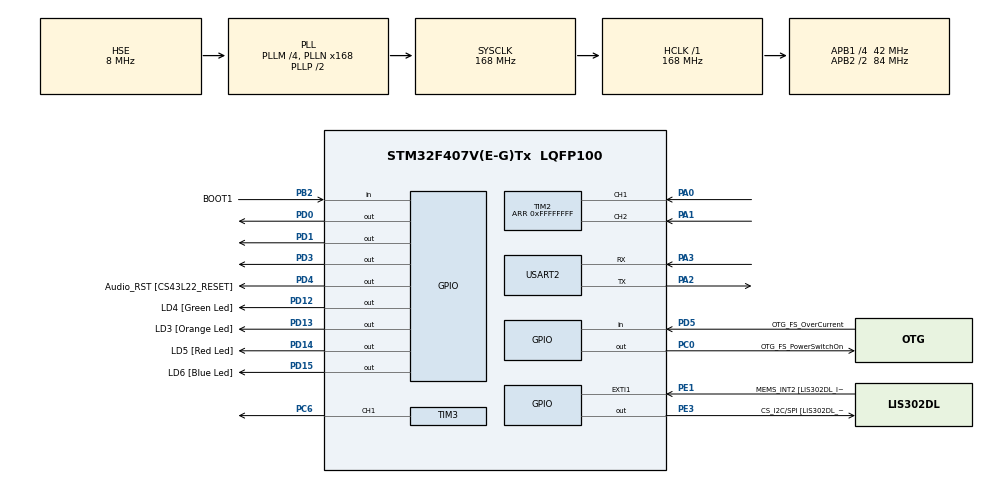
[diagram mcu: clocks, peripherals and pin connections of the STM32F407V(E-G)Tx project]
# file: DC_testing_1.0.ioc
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Mcu.Family=STM32F4
Mcu.Name=STM32F407V(E-G)Tx
Mcu.Package=LQFP100
NVIC.PriorityGroup=NVIC_PRIORITYGROUP_0
NVIC.TIM1_UP_TIM10_IRQn=true\:0\:0\:false\:false\:true\:true\:true\:true
NVIC.USART2_IRQn=true\:0\:0\:false\:false\:true\:true\:true\:true
PA0-WKUP.GPIO_ModeDefaultPP=GPIO_MODE_AF_PP
PA0-WKUP.GPIO_PuPd=GPIO_PULLUP
PA0-WKUP.Signal=S_TIM2_CH1_ETR
PA1.GPIO_PuPd=GPIO_PULLUP
PA1.Signal=S_TIM2_CH2
PA10.GPIO_Label=OTG_FS_ID
PA10.GPIO_Mode=GPIO_MODE_AF_PP
PA10.GPIO_PuPd=GPIO_NOPULL
PA10.GPIO_Speed=GPIO_SPEED_FREQ_LOW
PA10.Signal=USB_OTG_FS_ID
PA11.GPIO_Label=OTG_FS_DM
PA11.GPIO_Mode=GPIO_MODE_AF_PP
PA11.GPIO_PuPd=GPIO_NOPULL
PA11.GPIO_Speed=GPIO_SPEED_FREQ_LOW
PA11.Signal=USB_OTG_FS_DM
PA12.GPIO_Label=OTG_FS_DP
PA12.GPIO_Mode=GPIO_MODE_AF_PP
PA12.GPIO_PuPd=GPIO_NOPULL
PA12.GPIO_Speed=GPIO_SPEED_FREQ_LOW
PA12.Signal=USB_OTG_FS_DP
PA13.GPIO_Label=SWDIO
PA13.Mode=Serial_Wire
PA13.Signal=SYS_JTMS-SWDIO
PA14.GPIO_Label=SWCLK
PA14.Mode=Serial_Wire
PA14.Signal=SYS_JTCK-SWCLK
PA2.Mode=Asynchronous
PA2.Signal=USART2_TX
PA3.Mode=Asynchronous
PA3.Signal=USART2_RX
PA4.GPIO_Label=I2S3_WS [CS43L22_LRCK]
PA4.GPIO_Mode=GPIO_MODE_AF_PP
PA4.GPIO_PuPd=GPIO_NOPULL
PA4.GPIO_Speed=GPIO_SPEED_FREQ_LOW
PA4.Signal=I2S3_WS
PA5.GPIO_Label=SPI1_SCK [LIS302DL_SCL/SPC]
PA5.GPIO_Mode=GPIO_MODE_AF_PP
PA5.GPIO_PuPd=GPIO_NOPULL
PA5.GPIO_Speed=GPIO_SPEED_FREQ_LOW
PA5.Signal=SPI1_SCK
PA6.GPIO_Label=SPI1_MISO [LIS302DL_SDO]
PA6.GPIO_Mode=GPIO_MODE_AF_PP
PA6.GPIO_PuPd=GPIO_NOPULL
PA6.GPIO_Speed=GPIO_SPEED_FREQ_LOW
PA6.Signal=SPI1_MISO
PA7.GPIO_Label=SPI1_MOSI [LIS302DL_SDA/SDI/SDO]
PA7.GPIO_Mode=GPIO_MODE_AF_PP
PA7.GPIO_PuPd=GPIO_NOPULL
PA7.GPIO_Speed=GPIO_SPEED_FREQ_LOW
PA7.Signal=SPI1_MOSI
PA9.GPIO_Label=VBUS_FS
PA9.GPIO_Mode=GPIO_MODE_INPUT
PA9.GPIO_PuPd=GPIO_NOPULL
PA9.Signal=USB_OTG_FS_VBUS
PB10.GPIO_Label=CLK_IN [MP45DT02_CLK]
PB10.GPIO_Mode=GPIO_MODE_AF_PP
PB10.GPIO_PuPd=GPIO_NOPULL
PB10.GPIO_Speed=GPIO_SPEED_FREQ_LOW
PB10.Signal=I2S2_CK
PB2.GPIO_Label=BOOT1
PB2.GPIO_Mode=GPIO_MODE_INPUT
PB2.GPIO_PuPd=GPIO_NOPULL
PB2.Signal=GPIO_Input
PB3.GPIO_Label=SWO
PB3.Signal=SYS_JTDO-SWO
PB6.GPIO_Label=Audio_SCL [CS43L22_SCL]
PB6.GPIO_Mode=GPIO_MODE_AF_OD
PB6.GPIO_PuPd=GPIO_NOPULL
PB6.GPIO_Speed=GPIO_SPEED_FREQ_LOW
PB6.Signal=I2C1_SCL
PB9.GPIO_Label=Audio_SDA [CS43L22_SDA]
PB9.GPIO_Mode=GPIO_MODE_AF_OD
PB9.GPIO_PuPd=GPIO_NOPULL
PB9.GPIO_Speed=GPIO_SPEED_FREQ_LOW
PB9.Signal=I2C1_SDA
PC0.GPIO_Label=OTG_FS_PowerSwitchOn
PC0.GPIO_PuPd=GPIO_NOPULL
PC0.GPIO_Speed=GPIO_SPEED_FREQ_LOW
PC0.PinState=GPIO_PIN_SET
PC0.Signal=GPIO_Output
PC10.GPIO_Label=I2S3_SCK [CS43L22_SCLK]
PC10.GPIO_Mode=GPIO_MODE_AF_PP
PC10.GPIO_PuPd=GPIO_NOPULL
PC10.GPIO_Speed=GPIO_SPEED_FREQ_LOW
PC10.Signal=I2S3_CK
PC12.GPIO_Label=I2S3_SD [CS43L22_SDIN]
PC12.GPIO_Mode=GPIO_MODE_AF_PP
PC12.GPIO_PuPd=GPIO_NOPULL
PC12.GPIO_Speed=GPIO_SPEED_FREQ_LOW
PC12.Signal=I2S3_SD
PC14-OSC32_IN.GPIO_Label=PC14-OSC32_IN
PC14-OSC32_IN.Signal=RCC_OSC32_IN
PC15-OSC32_OUT.GPIO_Label=PC15-OSC32_OUT
PC15-OSC32_OUT.Signal=RCC_OSC32_OUT
PC3.GPIO_Label=PDM_OUT [MP45DT02_DOUT]
PC3.GPIO_Mode=GPIO_MODE_AF_PP
PC3.GPIO_PuPd=GPIO_NOPULL
PC3.GPIO_Speed=GPIO_SPEED_FREQ_LOW
PC3.Signal=I2S2_SD
PC6.Signal=S_TIM3_CH1
PC7.GPIO_Label=I2S3_MCK [CS43L22_MCLK]
PC7.GPIO_Mode=GPIO_MODE_AF_PP
PC7.GPIO_PuPd=GPIO_NOPULL
PC7.GPIO_Speed=GPIO_SPEED_FREQ_LOW
PC7.Signal=I2S3_MCK
PD0.Signal=GPIO_Output
PD1.Signal=GPIO_Output
PD12.GPIO_Label=LD4 [Green Led]
PD12.GPIO_PuPd=GPIO_NOPULL
PD12.GPIO_Speed=GPIO_SPEED_FREQ_LOW
PD12.Signal=GPIO_Output
PD13.GPIO_Label=LD3 [Orange Led]
PD13.GPIO_PuPd=GPIO_NOPULL
PD13.GPIO_Speed=GPIO_SPEED_FREQ_LOW
PD13.Signal=GPIO_Output
PD14.GPIO_Label=LD5 [Red Led]
PD14.GPIO_PuPd=GPIO_NOPULL
PD14.GPIO_Speed=GPIO_SPEED_FREQ_LOW
PD14.Signal=GPIO_Output
PD15.GPIO_Label=LD6 [Blue Led]
PD15.GPIO_PuPd=GPIO_NOPULL
PD15.GPIO_Speed=GPIO_SPEED_FREQ_LOW
PD15.Signal=GPIO_Output
PD3.Signal=GPIO_Output
PD4.GPIO_Label=Audio_RST [CS43L22_RESET]
PD4.GPIO_PuPd=GPIO_NOPULL
PD4.GPIO_Speed=GPIO_SPEED_FREQ_LOW
PD4.Signal=GPIO_Output
PD5.GPIO_Label=OTG_FS_OverCurrent
PD5.GPIO_Mode=GPIO_MODE_INPUT
PD5.GPIO_PuPd=GPIO_NOPULL
PD5.Signal=GPIO_Input
PE1.GPIO_Label=MEMS_INT2 [LIS302DL_INT2]
PE1.GPIO_ModeDefaultEXTI=GPIO_MODE_EVT_RISING
PE1.GPIO_PuPd=GPIO_NOPULL
PE1.Signal=GPXTI1
PE3.GPIO_Label=CS_I2C/SPI [LIS302DL_CS_I2C/SPI]
PE3.GPIO_PuPd=GPIO_NOPULL
PE3.GPIO_Speed=GPIO_SPEED_FREQ_LOW
PE3.Signal=GPIO_Output
PH0-OSC_IN.GPIO_Label=PH0-OSC_IN
PH0-OSC_IN.Mode=HSE-External-Oscillator
PH0-OSC_IN.Signal=RCC_OSC_IN
PH1-OSC_OUT.GPIO_Label=PH1-OSC_OUT
PH1-OSC_OUT.Mode=HSE-External-Oscillator
PH1-OSC_OUT.Signal=RCC_OSC_OUT
ProjectManager.HeapSize=0x200
ProjectManager.StackSize=0x400
ProjectManager.TargetToolchain=STM32CubeIDE
RCC.48MHZClocksFreq_Value=48000000
RCC.AHBFreq_Value=168000000
RCC.APB1CLKDivider=RCC_HCLK_DIV4
RCC.APB1Freq_Value=42000000
RCC.APB1TimFreq_Value=84000000
RCC.APB2CLKDivider=RCC_HCLK_DIV2
RCC.APB2Freq_Value=84000000
RCC.APB2TimFreq_Value=168000000
RCC.CortexFreq_Value=168000000
RCC.HCLKFreq_Value=168000000
RCC.HSE_VALUE=8000000
RCC.HSI_VALUE=16000000
RCC.LSE_VALUE=32768
RCC.PLLM=4
RCC.PLLN=168
RCC.PLLQ=7
RCC.PLLSourceVirtual=RCC_PLLSOURCE_HSE
RCC.SYSCLKFreq_VALUE=168000000
RCC.SYSCLKSource=RCC_SYSCLKSOURCE_PLLCLK
RCC.VCOOutputFreq_Value=336000000
SH.S_TIM2_CH1_ETR.0=TIM2_CH1,Encoder_Interface
SH.S_TIM2_CH2.0=TIM2_CH2,Encoder_Interface
SH.S_TIM3_CH1.0=TIM3_CH1,PWM Generation1 CH1
TIM1.Period=99
TIM1.Prescaler=8399
TIM2.EncoderMode=TIM_ENCODERMODE_TI12
TIM2.Period=0xFFFFFFFF
TIM3.Channel-PWM\ Generation1\ CH1=TIM_CHANNEL_1
TIM3.Period=999
TIM3.Prescaler=7
TIM3.Pulse-PWM\ Generation1\ CH1=10
USART2.VirtualMode=VM_ASYNC
VP_TIM1_VS_ClockSourceINT.Mode=Internal
VP_TIM3_VS_ClockSourceINT.Mode=Internal
board=STM32F407G-DISC1

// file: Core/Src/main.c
/* USER CODE BEGIN Header */
/**
  ******************************************************************************
  * @file           : main.c
  * @brief          : Main program body
  ******************************************************************************
  * @attention
  *
  * Copyright (c) 2025 STMicroelectronics.
  * All rights reserved.
  *
  * This software is licensed under terms that can be found in the LICENSE file
  * in the root directory of this software component.
  * If no LICENSE file comes with this software, it is provided AS-IS.
  *
  ******************************************************************************
  */
/* USER CODE END Header */
#include "main.h"

/* USER CODE BEGIN Includes */
#include "string.h"
#include "stdlib.h"
#include "stdio.h"
#include "pid_controller.h"
#include "kalman_filter.h"
#include "math.h"
#include "arm_math.h"
#include "rls_estimator.h"
/* USER CODE END Includes */

/* USER CODE BEGIN PD */
#define PI 3.14159265358979323846
/* USER CODE END PD */

TIM_HandleTypeDef htim1;
TIM_HandleTypeDef htim2;
TIM_HandleTypeDef htim3;

UART_HandleTypeDef huart2;

void SystemClock_Config(void);
static void MX_GPIO_Init(void);
static void MX_TIM2_Init(void);
static void MX_TIM1_Init(void);
static void MX_TIM3_Init(void);
static void MX_USART2_UART_Init(void);

/* USER CODE BEGIN 0 */
volatile int32_t encoder = 0;
volatile double motor_omega = 0;
volatile double motor_rpm = 0;
volatile double encoder_data[100] = {0};
volatile int i=0;
const int total_pulse = 388;
const float Ts = 0.005;
double test_data = 35.7;
double duty_cycle = 20;

uint8_t buffer_receive[10];
volatile double u_motor =0;

int _write(int file, char *ptr, int len){
	int i = 0;
	for (i = 0; i<len; i++)
		ITM_SendChar((*ptr++));
	return len;
}

void sendDataUART(float output, float input)
{
	uint8_t buffer_transmit[10];
	buffer_transmit[0] = 0x7E;    // Start byte
	memcpy(&buffer_transmit[1], &input, sizeof(float));
    memcpy(&buffer_transmit[5], &output, sizeof(float));
    buffer_transmit[9] = 0x33;    // End byte

	HAL_UART_Transmit(&huart2, buffer_transmit, sizeof(buffer_transmit), 1000);

}
PID_Controller pid;
KalmanFilter vel_filter;
RLS_Estimator estimator;
volatile uint16_t ouput_duty;
volatile float32_t a[4];
/* USER CODE END 0 */

int main(void)
{

  /* MCU Configuration--------------------------------------------------------*/

  /* Reset of all peripherals, Initializes the Flash interface and the Systick. */
  HAL_Init();

  /* Configure the system clock */
  SystemClock_Config();

  /* Initialize all configured peripherals */
  MX_GPIO_Init();
  MX_TIM2_Init();
  MX_TIM1_Init();
  MX_TIM3_Init();
  MX_USART2_UART_Init();
  /* USER CODE BEGIN 2 */
  HAL_GPIO_WritePin(GPIOD, GPIO_PIN_3, 1);

  HAL_TIM_Encoder_Start(&htim2, TIM_CHANNEL_1);
  HAL_TIM_Encoder_Start(&htim2, TIM_CHANNEL_2);
  HAL_TIM_PWM_Start(&htim3, TIM_CHANNEL_1);
  HAL_TIM_Base_Start_IT(&htim1);
  HAL_UART_Receive_IT(&huart2, buffer_receive, sizeof(buffer_receive));

// Connect ENB into PD3 if you want duty cycle = 100%
// Connect ENB into PC6 if you want to modify duty cycle

  //PID controller
//  PID_Init(&pid, 0.016352, 40, 33.33, 2500, 999);
//  PID_Init(&pid, 1, 40, 33.33, 2500, 999);
  PID_Init(&pid, 10, 0.0001, 0, 2500, 999);
  KalmanFilter_Init(&vel_filter, 0.1, 7.0, 1.0, 0.0f);
  RLS_Init(&estimator, 0.8f, (float[]){-1.0f, 1.0f, 1.0f, 1.0f}, 1e2f);
  /* USER CODE END 2 */

  /* Infinite loop */
  /* USER CODE BEGIN WHILE */
  while (1)
  {
//	  HAL_GPIO_TogglePin(GPIOD, GPIO_PIN_15);
//	  HAL_Delay(500);
//	  sendDataUART(motor_omega);

    /* USER CODE END WHILE */

    /* USER CODE BEGIN 3 */
//	  	 	volatile float estimsteIn = (float)pid.output;
//	  		volatile float estimsteOut = (float)motor_omega;
//	  		RLS_Update(&estimator, estimsteIn, estimsteOut);
//	  		a[0] = estimator.Theta_.pData[0];
//	  		a[1] = estimator.Theta_.pData[1];
//	  		a[2] = estimator.Theta_.pData[2];
//	  		a[3] = estimator.Theta_.pData[3];
//	  		HAL_GPIO_TogglePin(GPIOD, GPIO_PIN_15);
//	  		__HAL_TIM_SET_COMPARE(&htim3, TIM_CHANNEL_1, u_motor);
  }
  /* USER CODE END 3 */
}

void SystemClock_Config(void)
{
  RCC_OscInitTypeDef RCC_OscInitStruct = {0};
  RCC_ClkInitTypeDef RCC_ClkInitStruct = {0};

  /** Configure the main internal regulator output voltage
  */
  __HAL_RCC_PWR_CLK_ENABLE();
  __HAL_PWR_VOLTAGESCALING_CONFIG(PWR_REGULATOR_VOLTAGE_SCALE1);

  /** Initializes the RCC Oscillators according to the specified parameters
  * in the RCC_OscInitTypeDef structure.
  */
  RCC_OscInitStruct.OscillatorType = RCC_OSCILLATORTYPE_HSE;
  RCC_OscInitStruct.HSEState = RCC_HSE_ON;
  RCC_OscInitStruct.PLL.PLLState = RCC_PLL_ON;
  RCC_OscInitStruct.PLL.PLLSource = RCC_PLLSOURCE_HSE;
  RCC_OscInitStruct.PLL.PLLM = 4;
  RCC_OscInitStruct.PLL.PLLN = 168;
  RCC_OscInitStruct.PLL.PLLP = RCC_PLLP_DIV2;
  RCC_OscInitStruct.PLL.PLLQ = 7;
  if (HAL_RCC_OscConfig(&RCC_OscInitStruct) != HAL_OK)
  {
    Error_Handler();
  }

  /** Initializes the CPU, AHB and APB buses clocks
  */
  RCC_ClkInitStruct.ClockType = RCC_CLOCKTYPE_HCLK|RCC_CLOCKTYPE_SYSCLK
                              |RCC_CLOCKTYPE_PCLK1|RCC_CLOCKTYPE_PCLK2;
  RCC_ClkInitStruct.SYSCLKSource = RCC_SYSCLKSOURCE_PLLCLK;
  RCC_ClkInitStruct.AHBCLKDivider = RCC_SYSCLK_DIV1;
  RCC_ClkInitStruct.APB1CLKDivider = RCC_HCLK_DIV4;
  RCC_ClkInitStruct.APB2CLKDivider = RCC_HCLK_DIV2;

  if (HAL_RCC_ClockConfig(&RCC_ClkInitStruct, FLASH_LATENCY_5) != HAL_OK)
  {
    Error_Handler();
  }
}

static void MX_TIM1_Init(void)
{

  TIM_ClockConfigTypeDef sClockSourceConfig = {0};
  TIM_MasterConfigTypeDef sMasterConfig = {0};

  htim1.Instance = TIM1;
  htim1.Init.Prescaler = 8399;
  htim1.Init.CounterMode = TIM_COUNTERMODE_UP;
  htim1.Init.Period = 99;
  htim1.Init.ClockDivision = TIM_CLOCKDIVISION_DIV1;
  htim1.Init.RepetitionCounter = 0;
  htim1.Init.AutoReloadPreload = TIM_AUTORELOAD_PRELOAD_DISABLE;
  if (HAL_TIM_Base_Init(&htim1) != HAL_OK)
  {
    Error_Handler();
  }
  sClockSourceConfig.ClockSource = TIM_CLOCKSOURCE_INTERNAL;
  if (HAL_TIM_ConfigClockSource(&htim1, &sClockSourceConfig) != HAL_OK)
  {
    Error_Handler();
  }
  sMasterConfig.MasterOutputTrigger = TIM_TRGO_RESET;
  sMasterConfig.MasterSlaveMode = TIM_MASTERSLAVEMODE_DISABLE;
  if (HAL_TIMEx_MasterConfigSynchronization(&htim1, &sMasterConfig) != HAL_OK)
  {
    Error_Handler();
  }

}

static void MX_TIM2_Init(void)
{

  TIM_Encoder_InitTypeDef sConfig = {0};
  TIM_MasterConfigTypeDef sMasterConfig = {0};

  htim2.Instance = TIM2;
  htim2.Init.Prescaler = 0;
  htim2.Init.CounterMode = TIM_COUNTERMODE_UP;
  htim2.Init.Period = 0xFFFFFFFF;
  htim2.Init.ClockDivision = TIM_CLOCKDIVISION_DIV1;
  htim2.Init.AutoReloadPreload = TIM_AUTORELOAD_PRELOAD_DISABLE;
  sConfig.EncoderMode = TIM_ENCODERMODE_TI12;
  sConfig.IC1Polarity = TIM_ICPOLARITY_RISING;
  sConfig.IC1Selection = TIM_ICSELECTION_DIRECTTI;
  sConfig.IC1Prescaler = TIM_ICPSC_DIV1;
  sConfig.IC1Filter = 0;
  sConfig.IC2Polarity = TIM_ICPOLARITY_RISING;
  sConfig.IC2Selection = TIM_ICSELECTION_DIRECTTI;
  sConfig.IC2Prescaler = TIM_ICPSC_DIV1;
  sConfig.IC2Filter = 0;
  if (HAL_TIM_Encoder_Init(&htim2, &sConfig) != HAL_OK)
  {
    Error_Handler();
  }
  sMasterConfig.MasterOutputTrigger = TIM_TRGO_RESET;
  sMasterConfig.MasterSlaveMode = TIM_MASTERSLAVEMODE_DISABLE;
  if (HAL_TIMEx_MasterConfigSynchronization(&htim2, &sMasterConfig) != HAL_OK)
  {
    Error_Handler();
  }

}

static void MX_TIM3_Init(void)
{

  TIM_ClockConfigTypeDef sClockSourceConfig = {0};
  TIM_MasterConfigTypeDef sMasterConfig = {0};
  TIM_OC_InitTypeDef sConfigOC = {0};

  htim3.Instance = TIM3;
  htim3.Init.Prescaler = 7;
  htim3.Init.CounterMode = TIM_COUNTERMODE_UP;
  htim3.Init.Period = 999;
  htim3.Init.ClockDivision = TIM_CLOCKDIVISION_DIV1;
  htim3.Init.AutoReloadPreload = TIM_AUTORELOAD_PRELOAD_DISABLE;
  if (HAL_TIM_Base_Init(&htim3) != HAL_OK)
  {
    Error_Handler();
  }
  sClockSourceConfig.ClockSource = TIM_CLOCKSOURCE_INTERNAL;
  if (HAL_TIM_ConfigClockSource(&htim3, &sClockSourceConfig) != HAL_OK)
  {
    Error_Handler();
  }
  if (HAL_TIM_PWM_Init(&htim3) != HAL_OK)
  {
    Error_Handler();
  }
  sMasterConfig.MasterOutputTrigger = TIM_TRGO_RESET;
  sMasterConfig.MasterSlaveMode = TIM_MASTERSLAVEMODE_DISABLE;
  if (HAL_TIMEx_MasterConfigSynchronization(&htim3, &sMasterConfig) != HAL_OK)
  {
    Error_Handler();
  }
  sConfigOC.OCMode = TIM_OCMODE_PWM1;
  sConfigOC.Pulse = 10;
  sConfigOC.OCPolarity = TIM_OCPOLARITY_HIGH;
  sConfigOC.OCFastMode = TIM_OCFAST_DISABLE;
  if (HAL_TIM_PWM_ConfigChannel(&htim3, &sConfigOC, TIM_CHANNEL_1) != HAL_OK)
  {
    Error_Handler();
  }
  HAL_TIM_MspPostInit(&htim3);

}

static void MX_USART2_UART_Init(void)
{

  huart2.Instance = USART2;
  huart2.Init.BaudRate = 115200;
  huart2.Init.WordLength = UART_WORDLENGTH_8B;
  huart2.Init.StopBits = UART_STOPBITS_1;
  huart2.Init.Parity = UART_PARITY_NONE;
  huart2.Init.Mode = UART_MODE_TX_RX;
  huart2.Init.HwFlowCtl = UART_HWCONTROL_NONE;
  huart2.Init.OverSampling = UART_OVERSAMPLING_16;
  if (HAL_UART_Init(&huart2) != HAL_OK)
  {
    Error_Handler();
  }

}

static void MX_GPIO_Init(void)
{
  GPIO_InitTypeDef GPIO_InitStruct = {0};

  /* GPIO Ports Clock Enable */
  __HAL_RCC_GPIOE_CLK_ENABLE();
  __HAL_RCC_GPIOC_CLK_ENABLE();
  __HAL_RCC_GPIOH_CLK_ENABLE();
  __HAL_RCC_GPIOA_CLK_ENABLE();
  __HAL_RCC_GPIOB_CLK_ENABLE();
  __HAL_RCC_GPIOD_CLK_ENABLE();

  /*Configure GPIO pin Output Level */
  HAL_GPIO_WritePin(CS_I2C_SPI_GPIO_Port, CS_I2C_SPI_Pin, GPIO_PIN_RESET);

  /*Configure GPIO pin Output Level */
  HAL_GPIO_WritePin(OTG_FS_PowerSwitchOn_GPIO_Port, OTG_FS_PowerSwitchOn_Pin, GPIO_PIN_SET);

  /*Configure GPIO pin Output Level */
  HAL_GPIO_WritePin(GPIOD, LD4_Pin|LD3_Pin|LD5_Pin|LD6_Pin
                          |GPIO_PIN_0|GPIO_PIN_1|GPIO_PIN_3|Audio_RST_Pin, GPIO_PIN_RESET);

  /*Configure GPIO pin : CS_I2C_SPI_Pin */
  GPIO_InitStruct.Pin = CS_I2C_SPI_Pin;
  GPIO_InitStruct.Mode = GPIO_MODE_OUTPUT_PP;
  GPIO_InitStruct.Pull = GPIO_NOPULL;
  GPIO_InitStruct.Speed = GPIO_SPEED_FREQ_LOW;
  HAL_GPIO_Init(CS_I2C_SPI_GPIO_Port, &GPIO_InitStruct);

  /*Configure GPIO pin : OTG_FS_PowerSwitchOn_Pin */
  GPIO_InitStruct.Pin = OTG_FS_PowerSwitchOn_Pin;
  GPIO_InitStruct.Mode = GPIO_MODE_OUTPUT_PP;
  GPIO_InitStruct.Pull = GPIO_NOPULL;
  GPIO_InitStruct.Speed = GPIO_SPEED_FREQ_LOW;
  HAL_GPIO_Init(OTG_FS_PowerSwitchOn_GPIO_Port, &GPIO_InitStruct);

  /*Configure GPIO pin : PDM_OUT_Pin */
  GPIO_InitStruct.Pin = PDM_OUT_Pin;
  GPIO_InitStruct.Mode = GPIO_MODE_AF_PP;
  GPIO_InitStruct.Pull = GPIO_NOPULL;
  GPIO_InitStruct.Speed = GPIO_SPEED_FREQ_LOW;
  GPIO_InitStruct.Alternate = GPIO_AF5_SPI2;
  HAL_GPIO_Init(PDM_OUT_GPIO_Port, &GPIO_InitStruct);

  /*Configure GPIO pin : I2S3_WS_Pin */
  GPIO_InitStruct.Pin = I2S3_WS_Pin;
  GPIO_InitStruct.Mode = GPIO_MODE_AF_PP;
  GPIO_InitStruct.Pull = GPIO_NOPULL;
  GPIO_InitStruct.Speed = GPIO_SPEED_FREQ_LOW;
  GPIO_InitStruct.Alternate = GPIO_AF6_SPI3;
  HAL_GPIO_Init(I2S3_WS_GPIO_Port, &GPIO_InitStruct);

  /*Configure GPIO pins : SPI1_SCK_Pin SPI1_MISO_Pin SPI1_MOSI_Pin */
  GPIO_InitStruct.Pin = SPI1_SCK_Pin|SPI1_MISO_Pin|SPI1_MOSI_Pin;
  GPIO_InitStruct.Mode = GPIO_MODE_AF_PP;
  GPIO_InitStruct.Pull = GPIO_NOPULL;
  GPIO_InitStruct.Speed = GPIO_SPEED_FREQ_LOW;
  GPIO_InitStruct.Alternate = GPIO_AF5_SPI1;
  HAL_GPIO_Init(GPIOA, &GPIO_InitStruct);

  /*Configure GPIO pin : BOOT1_Pin */
  GPIO_InitStruct.Pin = BOOT1_Pin;
  GPIO_InitStruct.Mode = GPIO_MODE_INPUT;
  GPIO_InitStruct.Pull = GPIO_NOPULL;
  HAL_GPIO_Init(BOOT1_GPIO_Port, &GPIO_InitStruct);

  /*Configure GPIO pin : CLK_IN_Pin */
  GPIO_InitStruct.Pin = CLK_IN_Pin;
  GPIO_InitStruct.Mode = GPIO_MODE_AF_PP;
  GPIO_InitStruct.Pull = GPIO_NOPULL;
  GPIO_InitStruct.Speed = GPIO_SPEED_FREQ_LOW;
  GPIO_InitStruct.Alternate = GPIO_AF5_SPI2;
  HAL_GPIO_Init(CLK_IN_GPIO_Port, &GPIO_InitStruct);

  /*Configure GPIO pins : LD4_Pin LD3_Pin LD5_Pin LD6_Pin
                           PD0 PD1 PD3 Audio_RST_Pin */
  GPIO_InitStruct.Pin = LD4_Pin|LD3_Pin|LD5_Pin|LD6_Pin
                          |GPIO_PIN_0|GPIO_PIN_1|GPIO_PIN_3|Audio_RST_Pin;
  GPIO_InitStruct.Mode = GPIO_MODE_OUTPUT_PP;
  GPIO_InitStruct.Pull = GPIO_NOPULL;
  GPIO_InitStruct.Speed = GPIO_SPEED_FREQ_LOW;
  HAL_GPIO_Init(GPIOD, &GPIO_InitStruct);

  /*Configure GPIO pins : I2S3_MCK_Pin I2S3_SCK_Pin I2S3_SD_Pin */
  GPIO_InitStruct.Pin = I2S3_MCK_Pin|I2S3_SCK_Pin|I2S3_SD_Pin;
  GPIO_InitStruct.Mode = GPIO_MODE_AF_PP;
  GPIO_InitStruct.Pull = GPIO_NOPULL;
  GPIO_InitStruct.Speed = GPIO_SPEED_FREQ_LOW;
  GPIO_InitStruct.Alternate = GPIO_AF6_SPI3;
  HAL_GPIO_Init(GPIOC, &GPIO_InitStruct);

  /*Configure GPIO pin : VBUS_FS_Pin */
  GPIO_InitStruct.Pin = VBUS_FS_Pin;
  GPIO_InitStruct.Mode = GPIO_MODE_INPUT;
  GPIO_InitStruct.Pull = GPIO_NOPULL;
  HAL_GPIO_Init(VBUS_FS_GPIO_Port, &GPIO_InitStruct);

  /*Configure GPIO pins : OTG_FS_ID_Pin OTG_FS_DM_Pin OTG_FS_DP_Pin */
  GPIO_InitStruct.Pin = OTG_FS_ID_Pin|OTG_FS_DM_Pin|OTG_FS_DP_Pin;
  GPIO_InitStruct.Mode = GPIO_MODE_AF_PP;
  GPIO_InitStruct.Pull = GPIO_NOPULL;
  GPIO_InitStruct.Speed = GPIO_SPEED_FREQ_LOW;
  GPIO_InitStruct.Alternate = GPIO_AF10_OTG_FS;
  HAL_GPIO_Init(GPIOA, &GPIO_InitStruct);

  /*Configure GPIO pin : OTG_FS_OverCurrent_Pin */
  GPIO_InitStruct.Pin = OTG_FS_OverCurrent_Pin;
  GPIO_InitStruct.Mode = GPIO_MODE_INPUT;
  GPIO_InitStruct.Pull = GPIO_NOPULL;
  HAL_GPIO_Init(OTG_FS_OverCurrent_GPIO_Port, &GPIO_InitStruct);

  /*Configure GPIO pins : Audio_SCL_Pin Audio_SDA_Pin */
  GPIO_InitStruct.Pin = Audio_SCL_Pin|Audio_SDA_Pin;
  GPIO_InitStruct.Mode = GPIO_MODE_AF_OD;
  GPIO_InitStruct.Pull = GPIO_NOPULL;
  GPIO_InitStruct.Speed = GPIO_SPEED_FREQ_LOW;
  GPIO_InitStruct.Alternate = GPIO_AF4_I2C1;
  HAL_GPIO_Init(GPIOB, &GPIO_InitStruct);

  /*Configure GPIO pin : MEMS_INT2_Pin */
  GPIO_InitStruct.Pin = MEMS_INT2_Pin;
  GPIO_InitStruct.Mode = GPIO_MODE_EVT_RISING;
  GPIO_InitStruct.Pull = GPIO_NOPULL;
  HAL_GPIO_Init(MEMS_INT2_GPIO_Port, &GPIO_InitStruct);

}

/* USER CODE BEGIN 4 */
void HAL_TIM_PeriodElapsedCallback(TIM_HandleTypeDef *htim)
{
	if (htim->Instance == TIM1) {
		encoder = (int32_t)__HAL_TIM_GET_COUNTER(&htim2);
		motor_omega = encoder*PI/(total_pulse*Ts);
		motor_omega = KalmanFilter_Update(&vel_filter, motor_omega);
		motor_rpm = motor_omega*60/PI;
		__HAL_TIM_SET_COUNTER(&htim2, 0);
		PID_Compute(&pid, u_motor, motor_rpm);
		ouput_duty = (uint16_t)(pid.output);

		if(ouput_duty >0){
			 HAL_GPIO_WritePin(GPIOD, GPIO_PIN_0, 0);
			 HAL_GPIO_WritePin(GPIOD, GPIO_PIN_1, 1);
			 uint16_t duty = (uint16_t)fminf(fabsf(pid.output), 999);
			 __HAL_TIM_SET_COMPARE(&htim3, TIM_CHANNEL_1, duty);
		} else {
			 HAL_GPIO_WritePin(GPIOD, GPIO_PIN_0, 1);
			 HAL_GPIO_WritePin(GPIOD, GPIO_PIN_1, 0);
			 uint16_t duty = (uint16_t)fminf(fabsf(pid.output), 999);
			 __HAL_TIM_SET_COMPARE(&htim3, TIM_CHANNEL_1, duty);
		}
   	    sendDataUART(motor_rpm,ouput_duty);
	}

}

void HAL_UART_RxCpltCallback(UART_HandleTypeDef *huart) {
	i++;
    if ((huart->Instance == USART2) && (buffer_receive[0] == 0x7E) && (buffer_receive[9] == 0x33))
    {
        memcpy(&duty_cycle, &buffer_receive[1], 8);
    }

    HAL_UART_Receive_IT(&huart2, buffer_receive, 10);
}

/* USER CODE END 4 */

void Error_Handler(void)
{
  __disable_irq();
  while (1)
  {
  }
}
